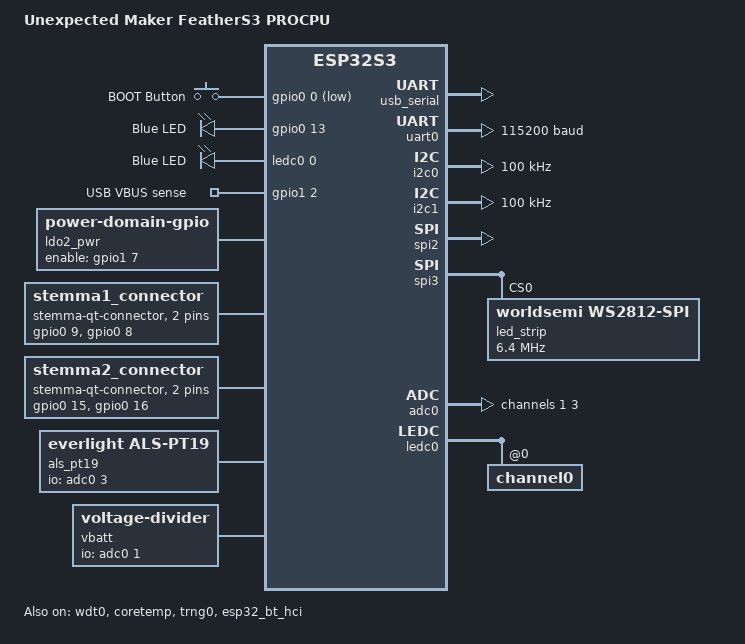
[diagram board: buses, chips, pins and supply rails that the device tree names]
/*
 * SPDX-FileCopyrightText: Copyright (c) 2024 Espressif Systems (Shanghai) Co., Ltd.
 * SPDX-FileCopyrightText: Copyright (c) 2024 Leon Rinkel <leon@rinkel.me>
 * SPDX-FileCopyrightText: Copyright (c) 2026 Perry Naseck, MIT Media Lab <pnaseck@media.mit.edu>
 * SPDX-License-Identifier: Apache-2.0
 */
/dts-v1/;

#include <espressif/esp32s3/esp32s3_wroom_n16r8.dtsi>
#include <espressif/partitions_0x0_amp_16M.dtsi>
#include <zephyr/dt-bindings/input/input-event-codes.h>
#include <zephyr/dt-bindings/led/led.h>
#include <zephyr/dt-bindings/pwm/pwm.h>
#include "feather_connector.dtsi"
#include "um_feathers3-pinctrl.dtsi"

/ {
	model = "Unexpected Maker FeatherS3 PROCPU";
	compatible = "um,feathers3", "espressif,esp32s3";

	aliases {
		i2c-0 = &i2c0;
		watchdog0 = &wdt0;
		uart-0 = &uart0;
		sw0 = &button0;
		led0 = &led0;
		led-strip = &led_strip;
		light-sensor = &als_pt19;
		mcuboot-button0 = &button0;
		mcuboot-led0 = &led0;
		pwm-led0 = &pwm_led0;
	};

	chosen {
		zephyr,sram = &sram1;
		zephyr,console = &usb_serial;
		zephyr,shell-uart = &usb_serial;
		zephyr,flash = &flash0;
		zephyr,code-partition = &slot0_partition;
		zephyr,bt-hci = &esp32_bt_hci;
	};

	buttons {
		compatible = "gpio-keys";

		button0: button_0 {
			gpios = <&gpio0 0 (GPIO_PULL_UP | GPIO_ACTIVE_LOW)>;
			label = "BOOT Button";
			zephyr,code = <INPUT_KEY_0>;
		};
	};

	leds {
		compatible = "gpio-leds";

		led0: led_0 {
			gpios = <&gpio0 13 GPIO_ACTIVE_HIGH>;
			label = "Blue LED";
		};
	};

	pwmleds {
		compatible = "pwm-leds";

		pwm_led0: pwm_led0 {
			pwms = <&ledc0 0 PWM_HZ(100) PWM_POLARITY_NORMAL>;
			label = "Blue LED";
		};
	};

	/* USB VBUS 5V presence detect on IO34 */
	vbus_sense: vbus_sense {
		compatible = "gpio-keys";

		usb_vbus: usb_vbus {
			gpios = <&gpio1 2 GPIO_ACTIVE_HIGH>; /* GPIO34 */
			label = "USB VBUS sense";
		};
	};

	/*
	 * The NeoPixel and LDO2 output are powered by a second LDO (U3)
	 * whose enable is gated through an AND gate (IC1B) with VDD_SPI
	 * and GPIO39 (MTCK). Setting GPIO39 high enables LDO2.
	 */
	ldo2_pwr: ldo2_pwr {
		compatible = "power-domain-gpio";
		#power-domain-cells = <0>;
		enable-gpios = <&gpio1 7 GPIO_ACTIVE_HIGH>; /* GPIO39 */
	};

	/* Horizontal STEMMA QT connector, powered by LDO1 */
	stemma1_connector: stemma1_connector {
		compatible = "stemma-qt-connector";
		#gpio-cells = <2>;
		gpio-map-mask = <0xffffffff 0xffffffc0>;
		gpio-map-pass-thru = <0 0x3f>;
		gpio-map = <0 0 &gpio0 9 0>,	/* SCL */
			   <1 0 &gpio0 8 0>;	/* SDA */
	};

	/* Vertical STEMMA QT connector, powered by LDO2 (P7/P8: I2C1) */
	stemma2_connector: stemma2_connector {
		compatible = "stemma-qt-connector";
		#gpio-cells = <2>;
		gpio-map-mask = <0xffffffff 0xffffffc0>;
		gpio-map-pass-thru = <0 0x3f>;
		gpio-map = <0 0 &gpio0 15 0>,	/* SCL */
			   <1 0 &gpio0 16 0>;	/* SDA */
	};

	/* ALS-PT19 ambient light sensor on IO4 (ADC1 CH3), R17 = 100K load */
	als_pt19: als-pt19 {
		compatible = "everlight,als-pt19";
		io-channels = <&adc0 3>;
		load-resistor = <100000>;
	};

	/*
	 * Battery voltage sense via resistor divider on IO2 (ADC1 CH1):
	 * R2 = 442K (high side from VBAT), R14 = 3.3K (low side to GND).
	 */
	vbatt: vbatt {
		compatible = "voltage-divider";
		io-channels = <&adc0 1>;
		output-ohms = <3300>;
		full-ohms = <(442000 + 3300)>;
	};
};

&usb_serial {
	status = "okay";
};

&uart0 {
	status = "okay";
	current-speed = <115200>;
	pinctrl-0 = <&uart0_default>;
	pinctrl-names = "default";
};

&gpio0 {
	status = "okay";
};

&gpio1 {
	status = "okay";
};

/* Horizontal STEMMA QT I2C bus (LDO1) */
zephyr_i2c: &i2c0 {
	status = "okay";
	clock-frequency = <I2C_BITRATE_STANDARD>;
	pinctrl-0 = <&i2c0_default>;
	pinctrl-names = "default";
};

/* Vertical STEMMA QT I2C bus (LDO2) — P7/P8: separate I2C1 */
&i2c1 {
	status = "okay";
	clock-frequency = <I2C_BITRATE_STANDARD>;
	pinctrl-0 = <&i2c1_default>;
	pinctrl-names = "default";
	power-domains = <&ldo2_pwr>;
};

&spi2 {
	#address-cells = <1>;
	#size-cells = <0>;
	status = "okay";
	pinctrl-0 = <&spim2_default>;
	pinctrl-names = "default";
};

&spi3 {
	#address-cells = <1>;
	#size-cells = <0>;
	status = "okay";
	pinctrl-0 = <&spim3_default>;
	pinctrl-names = "default";

	/* Workaround to support WS2812 driver */
	line-idle-low;

	led_strip: ws2812@0 {
		compatible = "worldsemi,ws2812-spi";
		power-domains = <&ldo2_pwr>;

		/* SPI */
		reg = <0>; /* ignored, but necessary for SPI bindings */
		spi-max-frequency = <6400000>;

		/* WS2812 */
		chain-length = <1>;
		spi-cpha;
		spi-one-frame = <0xf0>;  /* 625 ns high and 625 ns low */
		spi-zero-frame = <0xc0>; /* 312.5 ns high and 937.5 ns low */
		color-mapping = <LED_COLOR_ID_GREEN
				 LED_COLOR_ID_RED
				 LED_COLOR_ID_BLUE>;
	};
};

&adc0 {
	status = "okay";
	#address-cells = <1>;
	#size-cells = <0>;

	/* VBATT */
	channel@1 {
		reg = <1>;
		zephyr,gain = "ADC_GAIN_1_4";
		zephyr,reference = "ADC_REF_INTERNAL";
		zephyr,acquisition-time = <ADC_ACQ_TIME_DEFAULT>;
		zephyr,resolution = <12>;
	};

	/* ALS-PT19 */
	channel@3 {
		reg = <3>;
		zephyr,gain = "ADC_GAIN_1_4";
		zephyr,reference = "ADC_REF_INTERNAL";
		zephyr,acquisition-time = <ADC_ACQ_TIME_DEFAULT>;
		zephyr,resolution = <12>;
	};
};

&ledc0 {
	status = "okay";
	pinctrl-0 = <&ledc0_default>;
	pinctrl-names = "default";
	#address-cells = <1>;
	#size-cells = <0>;

	/* Blue LED */
	channel0@0 {
		reg = <0x0>;
		timer = <0>;
	};
};

&twai {
	pinctrl-0 = <&twai_default>;
	pinctrl-names = "default";
};

&timer0 {
	status = "disabled";
};

&timer1 {
	status = "disabled";
};

&timer2 {
	status = "disabled";
};

&timer3 {
	status = "disabled";
};

&wdt0 {
	status = "okay";
};

&coretemp {
	status = "okay";
};

&trng0 {
	status = "okay";
};

&esp32_bt_hci {
	status = "okay";
};
